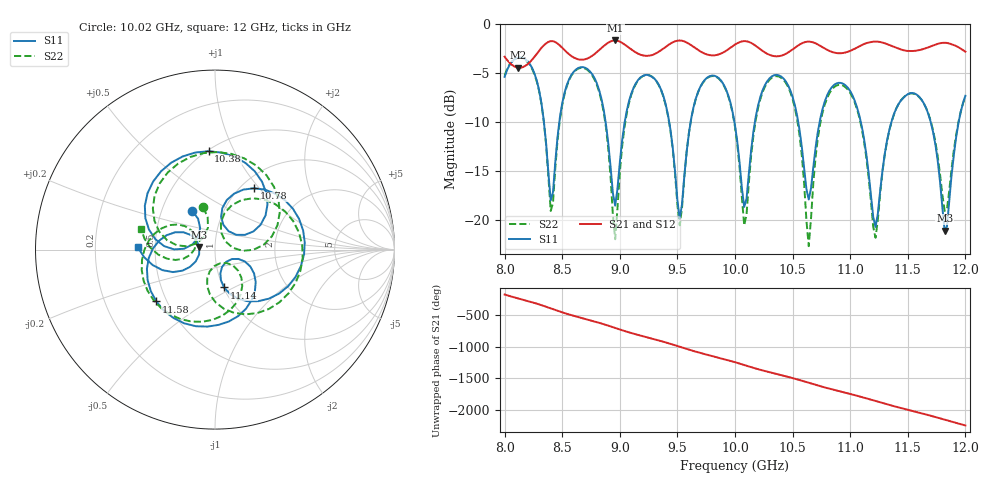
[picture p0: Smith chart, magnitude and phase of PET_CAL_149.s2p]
#  HZ  S  DB  R  50.00
! Rohde & Schwarz ZVA67 4Ports - Version 3.60 - 1305.7002k04 SN: 101051
! Date: 2012-04-04 16:21:24
! Measurements: S11 S21 S12 S22
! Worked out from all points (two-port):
!   201 points, 8 GHz to 12 GHz, reference 50 ohm
!   highest |S21| = -1.65 dB at 8.96 GHz (marker M1); lowest = -4.4 dB at 8.12 GHz (marker M2)
!   |S21| within 3 dB of the highest: start of sweep to end of sweep
!   lowest |S11| = -21.1 dB at 11.82 GHz (marker M3), VSWR 1.19, Z = 42 + j1.23 ohm
!   |S11| at or under -10 dB: 8.877 GHz to 9.042 GHz (165.5 MHz wide, 1.85 % of centre); 11.09 GHz to 11.36 GHz (264.9 MHz wide, 2.36 % of centre); 11.7 GHz to 11.94 GHz (241.4 MHz wide, 2.04 % of centre) (the widest 3 of 7)
!   |S22| runs from -22.7 to -3.4 dB; largest |S21 - S12| = 0.0081
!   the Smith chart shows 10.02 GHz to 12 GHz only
!   S11 on the Smith chart (normalised r, x): 10.02 GHz: 0.71, +0.33; 10.38 GHz: 0.51, +0.80; 10.78 GHz: 1.14, +0.93; 11.14 GHz: 1.01, -0.45; 11.58 GHz: 0.44, -0.31; 12 GHz: 0.40, +0.01
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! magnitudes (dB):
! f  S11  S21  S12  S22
! 8 GHz  -5.4  -3.3  -3.3  -5.2
! 8.12 GHz  -3.4  -4.4  -4.5  -3.4
! 8.4 GHz  -18.0  -1.7  -1.7  -19.1
! 8.68 GHz  -4.4  -3.6  -3.6  -4.5
! 8.96 GHz  -18.5  -1.7  -1.7  -21.9
! 9.1 GHz  -7.1  -2.6  -2.6  -7.2
! 9.34 GHz  -6.2  -2.8  -2.8  -6.3
! 9.52 GHz  -19.9  -1.7  -1.7  -20.5
! 9.7 GHz  -6.4  -2.8  -2.8  -6.4
! 10 GHz  -10.3  -2.1  -2.1  -10.5
! 10.02 GHz  -12.0  -1.9  -1.9  -12.3
! 10.08 GHz  -18.7  -1.7  -1.7  -20.5
! 10.38 GHz  -5.2  -3.3  -3.3  -5.3
! 10.64 GHz  -17.9  -1.8  -1.8  -22.7
! 10.68 GHz  -14.6  -1.9  -1.9  -16.2
! 10.78 GHz  -7.9  -2.5  -2.5  -8.2
! 11.14 GHz  -13.3  -1.9  -1.9  -13.6
! 11.22 GHz  -20.7  -1.8  -1.8  -21.8
! 11.34 GHz  -10.8  -2.1  -2.1  -10.8
! 11.58 GHz  -7.2  -2.7  -2.7  -7.3
! 11.82 GHz  -21.1  -1.9  -1.9  -19.0
! 12 GHz  -7.3  -2.8  -2.8  -7.3
